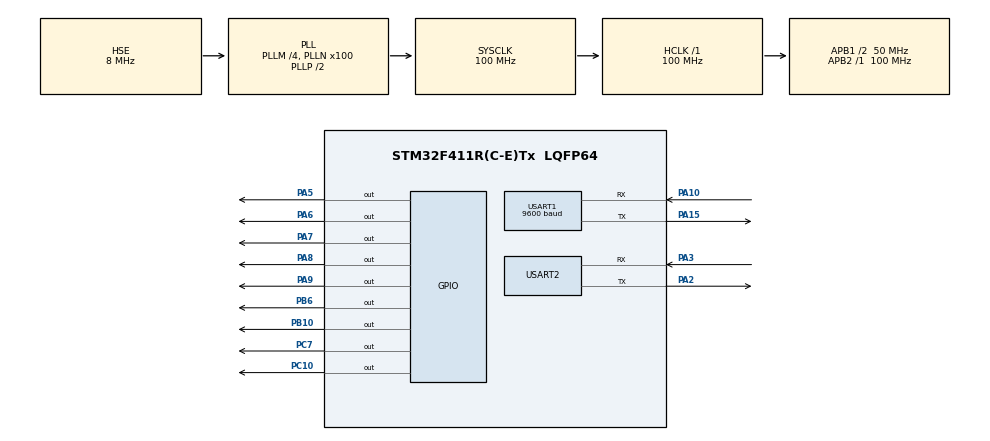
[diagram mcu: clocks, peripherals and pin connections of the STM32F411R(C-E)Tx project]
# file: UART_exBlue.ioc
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Dma.Request0=USART2_RX
Dma.USART2_RX.0.Direction=DMA_PERIPH_TO_MEMORY
Dma.USART2_RX.0.FIFOMode=DMA_FIFOMODE_DISABLE
Dma.USART2_RX.0.Instance=DMA1_Stream5
Dma.USART2_RX.0.MemDataAlignment=DMA_MDATAALIGN_BYTE
Dma.USART2_RX.0.MemInc=DMA_MINC_ENABLE
Dma.USART2_RX.0.Mode=DMA_NORMAL
Dma.USART2_RX.0.PeriphDataAlignment=DMA_PDATAALIGN_BYTE
Dma.USART2_RX.0.PeriphInc=DMA_PINC_DISABLE
Dma.USART2_RX.0.Priority=DMA_PRIORITY_LOW
Mcu.Family=STM32F4
Mcu.Name=STM32F411R(C-E)Tx
Mcu.Package=LQFP64
NVIC.DMA1_Stream5_IRQn=true\:0\:0\:false\:false\:true\:false\:true\:true
NVIC.PriorityGroup=NVIC_PRIORITYGROUP_4
NVIC.USART1_IRQn=true\:0\:0\:false\:false\:true\:true\:true\:true
NVIC.USART2_IRQn=true\:0\:0\:false\:false\:true\:true\:true\:true
PA10.Mode=Asynchronous
PA10.Signal=USART1_RX
PA13.Mode=Serial_Wire
PA13.Signal=SYS_JTMS-SWDIO
PA14.Mode=Serial_Wire
PA14.Signal=SYS_JTCK-SWCLK
PA15.Mode=Asynchronous
PA15.Signal=USART1_TX
PA2.Mode=Asynchronous
PA2.Signal=USART2_TX
PA3.Mode=Asynchronous
PA3.Signal=USART2_RX
PA5.PinState=GPIO_PIN_SET
PA5.Signal=GPIO_Output
PA6.Signal=GPIO_Output
PA7.Signal=GPIO_Output
PA8.Signal=GPIO_Output
PA9.Signal=GPIO_Output
PB10.Signal=GPIO_Output
PB6.Signal=GPIO_Output
PC10.PinState=GPIO_PIN_SET
PC10.Signal=GPIO_Output
PC7.Signal=GPIO_Output
PH0\ -\ OSC_IN.Mode=HSE-External-Oscillator
PH0\ -\ OSC_IN.Signal=RCC_OSC_IN
PH1\ -\ OSC_OUT.Mode=HSE-External-Oscillator
PH1\ -\ OSC_OUT.Signal=RCC_OSC_OUT
ProjectManager.HeapSize=0x200
ProjectManager.StackSize=0x400
ProjectManager.TargetToolchain=STM32CubeIDE
RCC.48MHZClocksFreq_Value=50000000
RCC.AHBFreq_Value=100000000
RCC.APB1CLKDivider=RCC_HCLK_DIV2
RCC.APB1Freq_Value=50000000
RCC.APB1TimFreq_Value=100000000
RCC.APB2Freq_Value=100000000
RCC.APB2TimFreq_Value=100000000
RCC.CortexFreq_Value=100000000
RCC.HCLKFreq_Value=100000000
RCC.HSE_VALUE=8000000
RCC.HSI_VALUE=16000000
RCC.LSE_VALUE=32768
RCC.PLLM=4
RCC.PLLN=100
RCC.PLLSourceVirtual=RCC_PLLSOURCE_HSE
RCC.SYSCLKFreq_VALUE=100000000
RCC.SYSCLKSource=RCC_SYSCLKSOURCE_PLLCLK
RCC.VCOOutputFreq_Value=200000000
USART1.BaudRate=9600
USART1.VirtualMode=VM_ASYNC
USART2.VirtualMode=VM_ASYNC
board=custom

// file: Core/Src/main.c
/* USER CODE BEGIN Header */
/**
  ******************************************************************************
  * @file           : main.c
  * @brief          : Main program body
  ******************************************************************************
  * @attention
  *
  * Copyright (c) 2023 STMicroelectronics.
  * All rights reserved.
  *
  * This software is licensed under terms that can be found in the LICENSE file
  * in the root directory of this software component.
  * If no LICENSE file comes with this software, it is provided AS-IS.
  *
  ******************************************************************************
  */
/* USER CODE END Header */
#include "main.h"
#include "dma.h"
#include "usart.h"
#include "gpio.h"

/* USER CODE BEGIN PV */
uint8_t rxData[1];
GPIO_TypeDef *led2_GPIO[8] =
    {
	GPIOA, GPIOA, GPIOA, GPIOB,
	GPIOC, GPIOA, GPIOA, GPIOB
    };
uint16_t led2_GPIO_PIN[8] =
    {
	GPIO_PIN_5, GPIO_PIN_6, GPIO_PIN_7, GPIO_PIN_6,
	GPIO_PIN_7, GPIO_PIN_9, GPIO_PIN_8, GPIO_PIN_10
    };
uint8_t state = 0;
uint8_t set = 0;
/* USER CODE END PV */

void SystemClock_Config(void);
/* USER CODE BEGIN PFP */
void HAL_UART_RxCpltCallback(UART_HandleTypeDef *huart)
{
  HAL_UART_Receive_DMA(&huart2, rxData, 1);
  HAL_UART_Receive_IT(&huart1, rxData, 1);
  if(rxData[0] == 'a'){
    HAL_GPIO_WritePin(led2_GPIO[state], led2_GPIO_PIN[state], RESET);
    set = 0;
  }
  else if(rxData[0] == 'b'){
    HAL_GPIO_WritePin(led2_GPIO[state], led2_GPIO_PIN[state], SET);
    set = 1;
  }
  else if(rxData[0] == 'c'){
    HAL_GPIO_TogglePin(led2_GPIO[state], led2_GPIO_PIN[state]);
    set++;
  }
  else if(rxData[0] == 'd'){
    HAL_GPIO_WritePin(led2_GPIO[state], led2_GPIO_PIN[state], RESET);
    if(state==7){
      state =0;
    }
    else{
      state++;
    }
    HAL_GPIO_WritePin(led2_GPIO[state], led2_GPIO_PIN[state], (set%2));
  }
  else if(rxData[0] == 'e'){
    HAL_GPIO_WritePin(led2_GPIO[state], led2_GPIO_PIN[state], RESET);
    if(state==0){
      state=7;
    }
    else{
      state--;
    }
    HAL_GPIO_WritePin(led2_GPIO[state], led2_GPIO_PIN[state], (set%2));
  }
  else if(rxData[0] == 't'){
    for(int i =0; i<8; i++){
      HAL_GPIO_TogglePin(led2_GPIO[i], led2_GPIO_PIN[i]);
    }
  }
}
/* USER CODE END PFP */

int main(void)
{

  /* MCU Configuration--------------------------------------------------------*/

  /* Reset of all peripherals, Initializes the Flash interface and the Systick. */
  HAL_Init();

  /* Configure the system clock */
  SystemClock_Config();

  /* Initialize all configured peripherals */
  MX_GPIO_Init();
  MX_DMA_Init();
  MX_USART2_UART_Init();
  MX_USART1_UART_Init();
  /* USER CODE BEGIN 2 */
  HAL_UART_Receive_DMA(&huart2, rxData, 1);
  HAL_UART_Receive_IT(&huart1, rxData, 1);

  /* USER CODE END 2 */

  /* Infinite loop */
  while (1)
  {

  }
}

void SystemClock_Config(void)
{
  RCC_OscInitTypeDef RCC_OscInitStruct = {0};
  RCC_ClkInitTypeDef RCC_ClkInitStruct = {0};

  /** Configure the main internal regulator output voltage
  */
  __HAL_RCC_PWR_CLK_ENABLE();
  __HAL_PWR_VOLTAGESCALING_CONFIG(PWR_REGULATOR_VOLTAGE_SCALE1);

  /** Initializes the RCC Oscillators according to the specified parameters
  * in the RCC_OscInitTypeDef structure.
  */
  RCC_OscInitStruct.OscillatorType = RCC_OSCILLATORTYPE_HSE;
  RCC_OscInitStruct.HSEState = RCC_HSE_ON;
  RCC_OscInitStruct.PLL.PLLState = RCC_PLL_ON;
  RCC_OscInitStruct.PLL.PLLSource = RCC_PLLSOURCE_HSE;
  RCC_OscInitStruct.PLL.PLLM = 4;
  RCC_OscInitStruct.PLL.PLLN = 100;
  RCC_OscInitStruct.PLL.PLLP = RCC_PLLP_DIV2;
  RCC_OscInitStruct.PLL.PLLQ = 4;
  if (HAL_RCC_OscConfig(&RCC_OscInitStruct) != HAL_OK)
  {
    Error_Handler();
  }

  /** Initializes the CPU, AHB and APB buses clocks
  */
  RCC_ClkInitStruct.ClockType = RCC_CLOCKTYPE_HCLK|RCC_CLOCKTYPE_SYSCLK
                              |RCC_CLOCKTYPE_PCLK1|RCC_CLOCKTYPE_PCLK2;
  RCC_ClkInitStruct.SYSCLKSource = RCC_SYSCLKSOURCE_PLLCLK;
  RCC_ClkInitStruct.AHBCLKDivider = RCC_SYSCLK_DIV1;
  RCC_ClkInitStruct.APB1CLKDivider = RCC_HCLK_DIV2;
  RCC_ClkInitStruct.APB2CLKDivider = RCC_HCLK_DIV1;

  if (HAL_RCC_ClockConfig(&RCC_ClkInitStruct, FLASH_LATENCY_3) != HAL_OK)
  {
    Error_Handler();
  }
}

void Error_Handler(void)
{
  __disable_irq();
  while (1)
  {
  }
}
